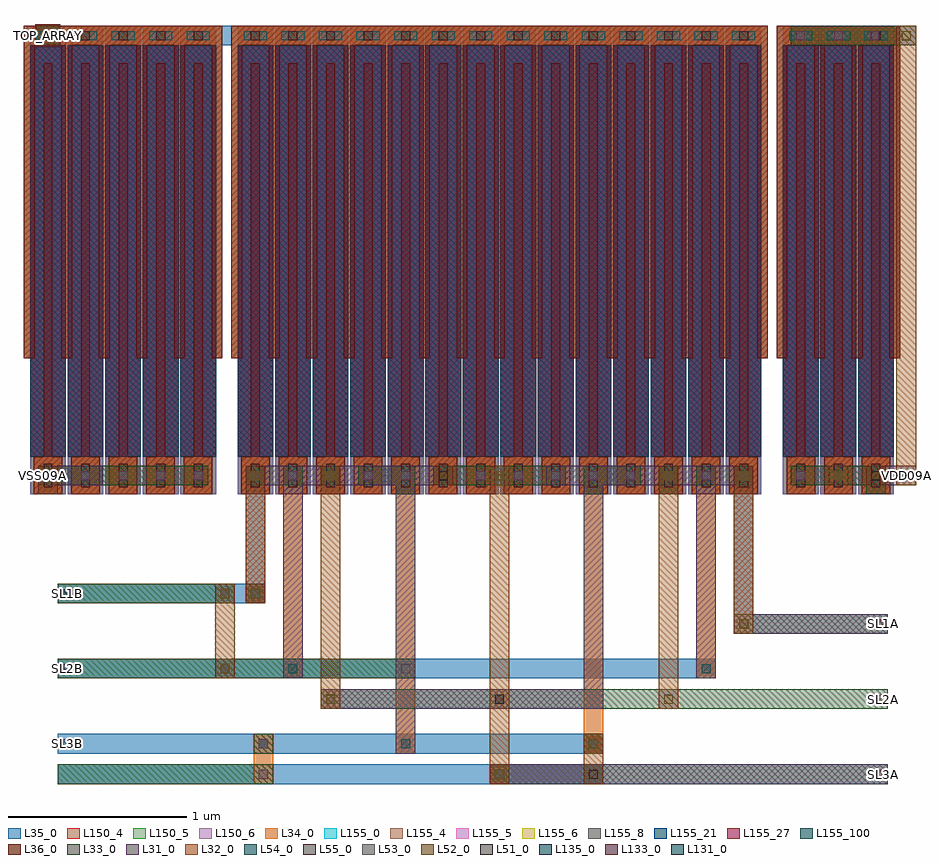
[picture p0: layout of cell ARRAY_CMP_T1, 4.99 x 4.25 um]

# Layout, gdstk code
from math import pi, radians
import gdstk
lib = gdstk.Library(unit=1e-6, precision=1e-09)
def R(c, l, rs):  # rectangles x0, y0, x1, y1
    for r in rs: c.add(gdstk.rectangle(r[:2], r[2:], *l))
def A(c, l, x, y, w, h, nx, ny, dx, dy):  # array of equal rectangles
    R(c, l, [(x+i*dx, y+j*dy, x+i*dx+w, y+j*dy+h) for i in range(nx) for j in range(ny)])
L31_0 = (31, 0)
L32_0 = (32, 0)
L33_0 = (33, 0)
L34_0 = (34, 0)
L35_0 = (35, 0)
L36_0 = (36, 0)
L51_0 = (51, 0)
L52_0 = (52, 0)
L53_0 = (53, 0)
L54_0 = (54, 0)
L55_0 = (55, 0)
L131_0 = (131, 0)
L133_0 = (133, 0)
L135_0 = (135, 0)
L150_4 = (150, 4)
L150_5 = (150, 5)
L150_6 = (150, 6)
L155_0 = (155, 0)
L155_4 = (155, 4)
L155_5 = (155, 5)
L155_6 = (155, 6)
L155_8 = (155, 8)
L155_21 = (155, 21)
L155_27 = (155, 27)
L155_100 = (155, 100)

m5_m4_cdns_620234322257 = lib.new_cell('M5_M4_CDNS_620234322257')
R(m5_m4_cdns_620234322257, L34_0, [(-0.07,-0.105,0.07,0.105)])
R(m5_m4_cdns_620234322257, L35_0, [(-0.07,-0.105,0.07,0.105)])
R(m5_m4_cdns_620234322257, L54_0, [(-0.025,-0.065,0.025,0.065)])

m6_m5_cdns_620234322258 = lib.new_cell('M6_M5_CDNS_620234322258')
R(m6_m5_cdns_620234322258, L35_0, [(-0.07,-0.105,0.07,0.105)])
R(m6_m5_cdns_620234322258, L36_0, [(-0.055,-0.105,0.055,0.105)])
R(m6_m5_cdns_620234322258, L55_0, [(-0.025,-0.065,0.025,0.065)])

m5_m4_cdns_620234322259 = lib.new_cell('M5_M4_CDNS_620234322259')
R(m5_m4_cdns_620234322259, L34_0, [(-0.095,-0.055,0.095,0.055)])
R(m5_m4_cdns_620234322259, L35_0, [(-0.12,-0.055,0.12,0.055)])
R(m5_m4_cdns_620234322259, L54_0, [(-0.065,-0.025,0.065,0.025)])

m6_m5_cdns_6202343222510 = lib.new_cell('M6_M5_CDNS_6202343222510')
R(m6_m5_cdns_6202343222510, L35_0, [(-0.055,-0.055,0.055,0.055)])
R(m6_m5_cdns_6202343222510, L36_0, [(-0.055,-0.055,0.055,0.055)])
R(m6_m5_cdns_6202343222510, L55_0, [(-0.025,-0.025,0.025,0.025)])

cu1f = lib.new_cell('CU1F')
R(cu1f, L34_0, [(0.02,0,0.18,0.21), (-0.035,2.51,0.235,2.62)])
R(cu1f, L35_0, [(0.02,0,0.18,0.21), (-0.035,2.51,0.235,2.62)])
R(cu1f, L36_0, [(0.02,0,0.18,0.21), (-0.035,2.51,0.235,2.62)])
R(cu1f, L150_4, [(0,0,0.2,2.62)])
R(cu1f, L150_5, [(0,0,0.2,2.62)])
R(cu1f, L150_6, [(0,0,0.2,2.62)])
R(cu1f, L155_0, [(0,0.21,0.2,2.51)])
R(cu1f, L155_4, [(0,0.21,0.2,2.51)])
R(cu1f, L155_5, [(0,0.21,0.2,2.51)])
R(cu1f, L155_6, [(0,0.21,0.2,2.51)])
R(cu1f, L155_8, [(0,0.21,0.2,2.51)])
R(cu1f, L155_21, [(0,0.21,0.2,2.51)])
R(cu1f, L155_27, [(0,0.21,0.2,2.51)])
R(cu1f, L155_100, [(0,0.21,0.2,2.51)])
cu1f.add(gdstk.FlexPath([(0.205,2.59),(0.205,0.76)], 0.06, ends=(0.03, 0), simple_path=True, layer=34, datatype=0))  # L34_0
cu1f.add(gdstk.FlexPath([(0.1,2.41),(0.1,0)], 0.05, ends="flush", simple_path=True, layer=34, datatype=0))  # L34_0
cu1f.add(gdstk.FlexPath([(-0.005,2.59),(-0.005,0.76)], 0.06, ends=(0.03, 0), simple_path=True, layer=34, datatype=0))  # L34_0
cu1f.add(gdstk.FlexPath([(0.205,0.76),(0.205,2.59)], 0.06, ends=(0, 0.03), simple_path=True, layer=35, datatype=0))  # L35_0
cu1f.add(gdstk.FlexPath([(0.1,2.41),(0.1,0)], 0.05, ends="flush", simple_path=True, layer=35, datatype=0))  # L35_0
cu1f.add(gdstk.FlexPath([(-0.005,0.76),(-0.005,2.59)], 0.06, ends=(0, 0.03), simple_path=True, layer=35, datatype=0))  # L35_0
cu1f.add(gdstk.FlexPath([(0.205,0.76),(0.205,2.59)], 0.06, ends=(0, 0.03), simple_path=True, layer=36, datatype=0))  # L36_0
cu1f.add(gdstk.FlexPath([(0.1,2.41),(0.1,0)], 0.05, ends="flush", simple_path=True, layer=36, datatype=0))  # L36_0
cu1f.add(gdstk.FlexPath([(-0.005,0.76),(-0.005,2.59)], 0.06, ends=(0, 0.03), simple_path=True, layer=36, datatype=0))  # L36_0
cu1f.add(gdstk.Reference(m5_m4_cdns_620234322257, (0.1,0.105), rotation=pi, x_reflection=True))
cu1f.add(gdstk.Reference(m6_m5_cdns_620234322258, (0.1,0.105), rotation=pi, x_reflection=True))
cu1f.add(gdstk.Reference(m5_m4_cdns_620234322259, (0.1,2.565)))
cu1f.add(gdstk.Reference(m6_m5_cdns_6202343222510, (0.1,2.565)))

m2_m1_cdns_620234322250 = lib.new_cell('M2_M1_CDNS_620234322250')
R(m2_m1_cdns_620234322250, L31_0, [(-0.055,-0.055,0.055,0.055)])
R(m2_m1_cdns_620234322250, L32_0, [(-0.055,-0.055,0.055,0.055)])
R(m2_m1_cdns_620234322250, L51_0, [(-0.025,-0.025,0.025,0.025)])

m3_m2_cdns_620234322251 = lib.new_cell('M3_M2_CDNS_620234322251')
R(m3_m2_cdns_620234322251, L32_0, [(-0.055,-0.055,0.055,0.055)])
R(m3_m2_cdns_620234322251, L33_0, [(-0.055,-0.055,0.055,0.055)])
R(m3_m2_cdns_620234322251, L52_0, [(-0.025,-0.025,0.025,0.025)])

m4_m3_cdns_620234322252 = lib.new_cell('M4_M3_CDNS_620234322252')
R(m4_m3_cdns_620234322252, L33_0, [(-0.055,-0.055,0.055,0.055)])
R(m4_m3_cdns_620234322252, L34_0, [(-0.055,-0.055,0.055,0.055)])
R(m4_m3_cdns_620234322252, L53_0, [(-0.025,-0.025,0.025,0.025)])

m4_m3_cdns_620234322253 = lib.new_cell('M4_M3_CDNS_620234322253')
R(m4_m3_cdns_620234322253, L33_0, [(-0.07,-0.065,0.07,0.065)])
R(m4_m3_cdns_620234322253, L34_0, [(-0.055,-0.055,0.055,0.055)])
R(m4_m3_cdns_620234322253, L53_0, [(-0.025,-0.025,0.025,0.025)])

m3_m2_cdns_620234322254 = lib.new_cell('M3_M2_CDNS_620234322254')
R(m3_m2_cdns_620234322254, L32_0, [(-0.065,-0.06,0.065,0.06)])
R(m3_m2_cdns_620234322254, L33_0, [(-0.07,-0.065,0.07,0.065)])
R(m3_m2_cdns_620234322254, L52_0, [(-0.025,-0.025,0.025,0.025)])

m2_m1_cdns_620234322255 = lib.new_cell('M2_M1_CDNS_620234322255')
R(m2_m1_cdns_620234322255, L31_0, [(-0.055,-0.055,0.055,0.055)])
R(m2_m1_cdns_620234322255, L32_0, [(-0.065,-0.06,0.065,0.06)])
R(m2_m1_cdns_620234322255, L51_0, [(-0.025,-0.025,0.025,0.025)])

m5_m4_cdns_620234322256 = lib.new_cell('M5_M4_CDNS_620234322256')
R(m5_m4_cdns_620234322256, L34_0, [(-0.055,-0.055,0.055,0.055)])
R(m5_m4_cdns_620234322256, L35_0, [(-0.055,-0.055,0.055,0.055)])
R(m5_m4_cdns_620234322256, L54_0, [(-0.025,-0.025,0.025,0.025)])

array_cmp_t1 = lib.new_cell('ARRAY_CMP_T1')
R(array_cmp_t1, L31_0, [(2.36,-1.62,4.585,-1.51), (1.835,-1.45,1.945,0.16), (1.415,-1.2,2.995,-1.09), (2.885,-1.2,2.995,0.16), (1.205,-1.03,1.315,0.16), (3.515,-1.03,3.625,0.16), (3.725,-0.78,4.585,-0.67), (3.725,-0.78,3.835,0.16), (0.995,-0.61,1.105,0.16), (-0.165,0.05,0.195,0.16), (0.995,0.05,1.945,0.16), (1.835,0.05,2.155,0.16), (2.675,0.05,2.995,0.16), (2.885,0.05,3.835,0.16), (4.465,0.05,4.745,0.16), (-0.18,2.5,-0.04,2.63)])
R(array_cmp_t1, L32_0, [(2.36,-1.62,2.47,0.16), (2.885,-1.62,2.995,-1.34), (1.415,-1.2,1.525,0.16), (3.305,-1.2,3.415,0.16), (0.825,-1.03,0.935,-0.5), (3.725,-0.78,3.835,0.16), (0.995,-0.61,1.105,0.16), (-0.165,0,-0.055,0.16), (4.465,0.05,4.575,0.16), (4.635,0.05,4.745,2.62)])
R(array_cmp_t1, L33_0, [(-0.055,-1.62,1.15,-1.51), (2.36,-1.62,4.585,-1.51), (1.415,-1.2,4.585,-1.09), (-0.055,-1.03,1.945,-0.92), (3.835,-0.78,4.585,-0.67), (-0.055,-0.61,0.935,-0.5), (1.835,0,1.945,0.16), (2.885,0,2.995,0.16), (3.305,0,3.415,0.16), (4.465,0,4.575,0.16), (-0.165,0.05,0.785,0.16), (1.625,0.05,1.945,0.16), (2.045,0.05,2.785,0.16), (2.885,0.05,3.205,0.16), (4.045,0.05,4.575,0.16), (4.045,2.51,4.745,2.62)])
R(array_cmp_t1, L34_0, [(1.04,-1.62,1.15,-1.34), (1.835,-1.45,1.945,0.16), (2.885,-1.45,2.995,0.16), (1.205,-1.03,1.315,0.16), (3.515,-1.03,3.625,0.16)])
R(array_cmp_t1, L35_0, [(-0.055,-1.62,2.995,-1.51), (-0.055,-1.45,2.995,-1.34), (-0.055,-1.03,3.625,-0.92), (-0.055,-0.61,1.105,-0.5), (-0.18,2.51,1.125,2.62)])
R(array_cmp_t1, L131_0, [(-0.165,0.08,-0.115,0.13), (4.665,0.08,4.715,0.13), (-0.135,2.54,-0.085,2.59)])
A(array_cmp_t1, L133_0, 4.535, -1.59, 0.05, 0.05, 1, 3, 0, 0.42)
A(array_cmp_t1, L135_0, -0.025, -1.42, 0.05, 0.05, 1, 3, 0, 0.42)
array_cmp_t1.add(gdstk.Reference(cu1f, (4,0)))
array_cmp_t1.add(gdstk.Reference(cu1f, (4.21,0)))
array_cmp_t1.add(gdstk.Reference(cu1f, (0.42,0)))
array_cmp_t1.add(gdstk.Reference(cu1f, (0.63,0)))
array_cmp_t1.add(gdstk.Reference(cu1f, (4.42,0)))
array_cmp_t1.add(gdstk.Reference(cu1f, (0.21,0)))
array_cmp_t1.add(gdstk.Reference(cu1f, (0,0)))
array_cmp_t1.add(gdstk.Reference(cu1f, (-0.21,0)))
array_cmp_t1.add(gdstk.Reference(cu1f, (3.68,0)))
array_cmp_t1.add(gdstk.Reference(cu1f, (3.47,0)))
array_cmp_t1.add(gdstk.Reference(cu1f, (3.26,0)))
array_cmp_t1.add(gdstk.Reference(cu1f, (3.05,0)))
array_cmp_t1.add(gdstk.Reference(cu1f, (2.84,0)))
array_cmp_t1.add(gdstk.Reference(cu1f, (2.63,0)))
array_cmp_t1.add(gdstk.Reference(cu1f, (2.42,0)))
array_cmp_t1.add(gdstk.Reference(cu1f, (2.21,0)))
array_cmp_t1.add(gdstk.Reference(cu1f, (2,0)))
array_cmp_t1.add(gdstk.Reference(cu1f, (1.79,0)))
array_cmp_t1.add(gdstk.Reference(cu1f, (1.58,0)))
array_cmp_t1.add(gdstk.Reference(cu1f, (1.37,0)))
array_cmp_t1.add(gdstk.Reference(cu1f, (1.16,0)))
array_cmp_t1.add(gdstk.Reference(cu1f, (0.95,0)))
array_cmp_t1.add(gdstk.Reference(m2_m1_cdns_620234322250, (2.94,-1.565)))
array_cmp_t1.add(gdstk.Reference(m2_m1_cdns_620234322250, (4.69,0.105)))
array_cmp_t1.add(gdstk.Reference(m2_m1_cdns_620234322250, (2.415,-1.145)))
array_cmp_t1.add(gdstk.Reference(m2_m1_cdns_620234322250, (-0.11,0.105)))
array_cmp_t1.add(gdstk.Reference(m2_m1_cdns_620234322250, (4.52,0.105)))
array_cmp_t1.add(gdstk.Reference(m2_m1_cdns_620234322250, (2.1,0.105)))
array_cmp_t1.add(gdstk.Reference(m3_m2_cdns_620234322251, (3.78,-0.725)))
array_cmp_t1.add(gdstk.Reference(m3_m2_cdns_620234322251, (1.47,-1.145)))
array_cmp_t1.add(gdstk.Reference(m3_m2_cdns_620234322251, (2.1,0.105)))
array_cmp_t1.add(gdstk.Reference(m3_m2_cdns_620234322251, (4.69,2.565)))
array_cmp_t1.add(gdstk.Reference(m3_m2_cdns_620234322251, (1.05,0.105)))
array_cmp_t1.add(gdstk.Reference(m3_m2_cdns_620234322251, (1.47,0.105)))
array_cmp_t1.add(gdstk.Reference(m3_m2_cdns_620234322251, (2.415,0.105)))
array_cmp_t1.add(gdstk.Reference(m3_m2_cdns_620234322251, (3.78,0.105)))
array_cmp_t1.add(gdstk.Reference(m3_m2_cdns_620234322251, (3.36,0.105)))
array_cmp_t1.add(gdstk.Reference(m3_m2_cdns_620234322251, (4.52,0.105)))
array_cmp_t1.add(gdstk.Reference(m3_m2_cdns_620234322251, (-0.11,0.105)))
array_cmp_t1.add(gdstk.Reference(m3_m2_cdns_620234322251, (4.31,0.105)))
array_cmp_t1.add(gdstk.Reference(m3_m2_cdns_620234322251, (2.94,-1.395)))
array_cmp_t1.add(gdstk.Reference(m3_m2_cdns_620234322251, (0.88,-0.555)))
array_cmp_t1.add(gdstk.Reference(m3_m2_cdns_620234322251, (2.415,-1.565)))
array_cmp_t1.add(gdstk.Reference(m3_m2_cdns_620234322251, (0.88,-0.975)))
array_cmp_t1.add(gdstk.Reference(m3_m2_cdns_620234322251, (3.36,-1.145)))
array_cmp_t1.add(gdstk.Reference(m3_m2_cdns_620234322251, (1.05,-0.555)))
array_cmp_t1.add(gdstk.Reference(m4_m3_cdns_620234322252, (1.68,0.105)))
array_cmp_t1.add(gdstk.Reference(m4_m3_cdns_620234322252, (1.89,-0.975)))
array_cmp_t1.add(gdstk.Reference(m4_m3_cdns_620234322252, (1.05,-0.555)))
array_cmp_t1.add(gdstk.Reference(m4_m3_cdns_620234322252, (2.415,-1.565)))
array_cmp_t1.add(gdstk.Reference(m4_m3_cdns_620234322252, (4.51,2.565), rotation=pi, x_reflection=True))
array_cmp_t1.add(gdstk.Reference(m4_m3_cdns_620234322252, (4.1,2.565), rotation=pi, x_reflection=True))
array_cmp_t1.add(gdstk.Reference(m4_m3_cdns_620234322252, (1.05,0.105)))
array_cmp_t1.add(gdstk.Reference(m4_m3_cdns_620234322252, (1.26,0.105)))
array_cmp_t1.add(gdstk.Reference(m4_m3_cdns_620234322252, (1.47,0.105)))
array_cmp_t1.add(gdstk.Reference(m4_m3_cdns_620234322252, (1.89,0.105)))
array_cmp_t1.add(gdstk.Reference(m4_m3_cdns_620234322252, (2.1,0.105)))
array_cmp_t1.add(gdstk.Reference(m4_m3_cdns_620234322252, (1.095,-1.565)))
array_cmp_t1.add(gdstk.Reference(m4_m3_cdns_620234322252, (2.31,0.105)))
array_cmp_t1.add(gdstk.Reference(m4_m3_cdns_620234322252, (2.52,0.105)))
array_cmp_t1.add(gdstk.Reference(m4_m3_cdns_620234322252, (1.095,-1.395)))
array_cmp_t1.add(gdstk.Reference(m4_m3_cdns_620234322252, (2.73,0.105)))
array_cmp_t1.add(gdstk.Reference(m4_m3_cdns_620234322252, (2.94,0.105)))
array_cmp_t1.add(gdstk.Reference(m4_m3_cdns_620234322252, (3.15,0.105)))
array_cmp_t1.add(gdstk.Reference(m4_m3_cdns_620234322252, (3.36,0.105)))
array_cmp_t1.add(gdstk.Reference(m4_m3_cdns_620234322252, (3.57,0.105)))
array_cmp_t1.add(gdstk.Reference(m4_m3_cdns_620234322252, (3.78,0.105)))
array_cmp_t1.add(gdstk.Reference(m4_m3_cdns_620234322252, (4.52,0.105)))
array_cmp_t1.add(gdstk.Reference(m4_m3_cdns_620234322252, (0.1,0.105)))
array_cmp_t1.add(gdstk.Reference(m4_m3_cdns_620234322252, (0.31,0.105)))
array_cmp_t1.add(gdstk.Reference(m4_m3_cdns_620234322252, (-0.11,0.105)))
array_cmp_t1.add(gdstk.Reference(m4_m3_cdns_620234322252, (0.73,0.105)))
array_cmp_t1.add(gdstk.Reference(m4_m3_cdns_620234322252, (0.52,0.105)))
array_cmp_t1.add(gdstk.Reference(m4_m3_cdns_620234322252, (2.94,-1.395)))
array_cmp_t1.add(gdstk.Reference(m4_m3_cdns_620234322252, (4.1,0.105)))
array_cmp_t1.add(gdstk.Reference(m4_m3_cdns_620234322252, (4.31,0.105)))
array_cmp_t1.add(gdstk.Reference(m4_m3_cdns_620234322252, (4.31,2.565), rotation=pi, x_reflection=True))
array_cmp_t1.add(gdstk.Reference(m4_m3_cdns_620234322253, (-0.11,2.565)))
array_cmp_t1.add(gdstk.Reference(m3_m2_cdns_620234322254, (-0.11,2.565)))
array_cmp_t1.add(gdstk.Reference(m2_m1_cdns_620234322255, (-0.11,2.565)))
array_cmp_t1.add(gdstk.Reference(m5_m4_cdns_620234322256, (1.05,-0.555)))
array_cmp_t1.add(gdstk.Reference(m5_m4_cdns_620234322256, (1.89,-1.395)))
array_cmp_t1.add(gdstk.Reference(m5_m4_cdns_620234322256, (3.57,-0.975)))
array_cmp_t1.add(gdstk.Reference(m5_m4_cdns_620234322256, (2.415,-1.565)))
array_cmp_t1.add(gdstk.Reference(m5_m4_cdns_620234322256, (1.26,-0.975)))
array_cmp_t1.add(gdstk.Reference(m5_m4_cdns_620234322256, (1.095,-1.395)))
array_cmp_t1.add(gdstk.Reference(m5_m4_cdns_620234322256, (2.94,-1.395)))
array_cmp_t1.add(gdstk.Label('SL3B', (0,-1.395), layer=135, texttype=0))
array_cmp_t1.add(gdstk.Label('SL2B', (0,-0.975), layer=135, texttype=0))
array_cmp_t1.add(gdstk.Label('SL1B', (0,-0.555), layer=135, texttype=0))
array_cmp_t1.add(gdstk.Label('SL1A', (4.56,-0.725), layer=133, texttype=0))
array_cmp_t1.add(gdstk.Label('SL2A', (4.56,-1.145), layer=133, texttype=0))
array_cmp_t1.add(gdstk.Label('SL3A', (4.56,-1.565), layer=133, texttype=0))
array_cmp_t1.add(gdstk.Label('VDD09A', (4.69,0.105), layer=131, texttype=0))
array_cmp_t1.add(gdstk.Label('VSS09A', (-0.14,0.105), layer=131, texttype=0))
array_cmp_t1.add(gdstk.Label('TOP_ARRAY', (-0.112,2.565), layer=131, texttype=0))

lib.write_gds('ARRAY_CMP_T1.gds')
